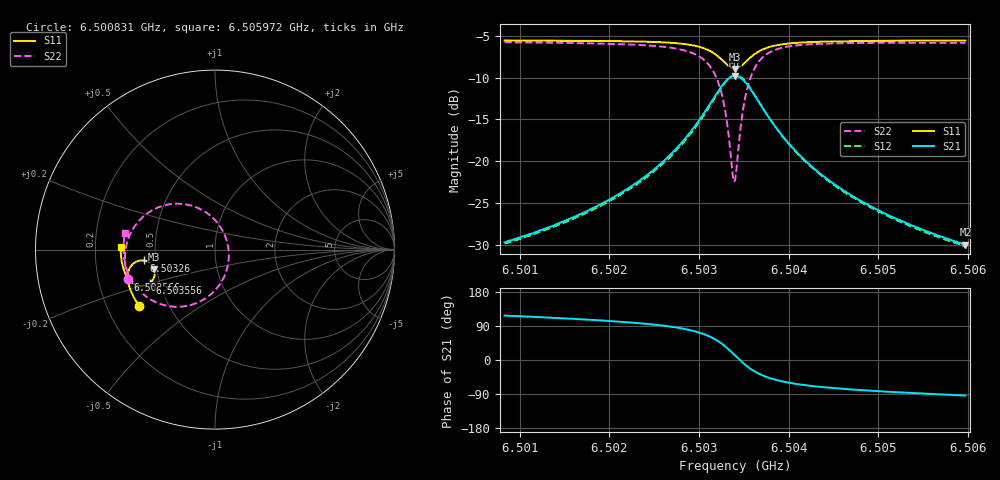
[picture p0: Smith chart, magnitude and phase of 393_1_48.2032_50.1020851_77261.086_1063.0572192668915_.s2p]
#  HZ  S  RI  R  50.00
! Rohde & Schwarz Vector Network Analyzer
! Rohde-Schwarz,ZNB20-2Port,1311601062101988,3.16
! Created: UTC 3/20/2024, 11:53:41 AM
! freq[Hz]  re:S11  im:S11  re:S21  im:S21  re:S12  im:S12  re:S22  im:S22
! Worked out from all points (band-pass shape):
!   401 points, 6.500831 GHz to 6.505972 GHz, reference 50 ohm
!   highest |S21| = -9.78 dB at 6.503401 GHz (marker M1); lowest = -30.0 dB at 6.505972 GHz (marker M2)
!   |S21| within 3 dB of the highest: 6.503145 GHz to 6.503659 GHz (513.8 kHz wide, 0.0079 % of centre)
!   lowest |S11| = -9.0 dB at 6.503401 GHz (marker M3), VSWR 2.11, Z = 24.2 - j6.05 ohm
!   |S11| at or under -10 dB: nowhere
!   |S22| runs from -22.4 to -5.8 dB; largest |S21 - S12| = 0.011
!   S11 on the Smith chart (normalised r, x): 6.500831 GHz: 0.34, -0.30; 6.502566 GHz: 0.33, -0.15; 6.50326 GHz: 0.43, -0.06; 6.503556 GHz: 0.44, -0.20; 6.505972 GHz: 0.31, +0.01
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6.5008308e9  -0.4207 -0.3165  -0.015 0.0291  -0.0133 0.0293  -0.4861 -0.1652
6.5016919e9  -0.4585 -0.2539  -0.0144 0.0465  -0.0122 0.0461  -0.5012 -0.0756
6.5021418e9  -0.4749 -0.2147  -0.012 0.0641  -0.0091 0.0633  -0.4999 -0.0136
6.5025531e9  -0.4854 -0.1707  -0.00311 0.0944  0.000472 0.0923  -0.4812 0.0653
6.5025659e9  -0.4855 -0.1691  -0.00266 0.0957  0.000961 0.0936  -0.48 0.0684
6.5028102e9  -0.4849 -0.1338  0.0155 0.1288  0.0192 0.125  -0.4421 0.1378
6.5029901e9  -0.4737 -0.1006  0.0497 0.1647  0.0529 0.1595  -0.3747 0.2037
6.5031572e9  -0.4394 -0.0676  0.1264 0.198  0.1277 0.1917  -0.2337 0.2548
6.50326e9  -0.397 -0.0605  0.2111 0.1896  0.2113 0.1844  -0.0865 0.228
6.5033114e9  -0.3717 -0.069  0.2592 0.1622  0.2598 0.1577  -0.00673 0.1717
6.5033757e9  -0.3452 -0.095  0.3066 0.0996  0.3092 0.0947  0.0652 0.0513
6.5034014e9  -0.3388 -0.1092  0.317 0.0679  0.32 0.0624  0.0763 -0.00783
6.5034271e9  -0.3359 -0.1245  0.3209 0.0346  0.324 0.028  0.0748 -0.0682
6.5034914e9  -0.3426 -0.1612  0.3035 -0.0423  0.3054 -0.052  0.0209 -0.202
6.5035557e9  -0.3633 -0.187  0.2613 -0.096  0.2603 -0.107  -0.0737 -0.2841
6.5036585e9  -0.4023 -0.202  0.1878 -0.1322  0.1827 -0.1414  -0.2215 -0.3187
6.5038256e9  -0.4481 -0.1924  0.1073 -0.1295  0.1004 -0.1344  -0.3669 -0.2729
6.5040055e9  -0.4752 -0.1711  0.0633 -0.1099  0.0572 -0.1121  -0.4383 -0.209
6.5042626e9  -0.4959 -0.141  0.0338 -0.0861  0.029 -0.0866  -0.4812 -0.1377
6.5046739e9  -0.5122 -0.0989  0.0142 -0.0623  0.0109 -0.0617  -0.5043 -0.0591
6.5051238e9  -0.521 -0.0576  0.00501 -0.047  0.00279 -0.0464  -0.5097 0.00249
6.5059721e9  -0.5258 0.0137  -0.00214 -0.0317  -0.00335 -0.0309  -0.5018 0.091
